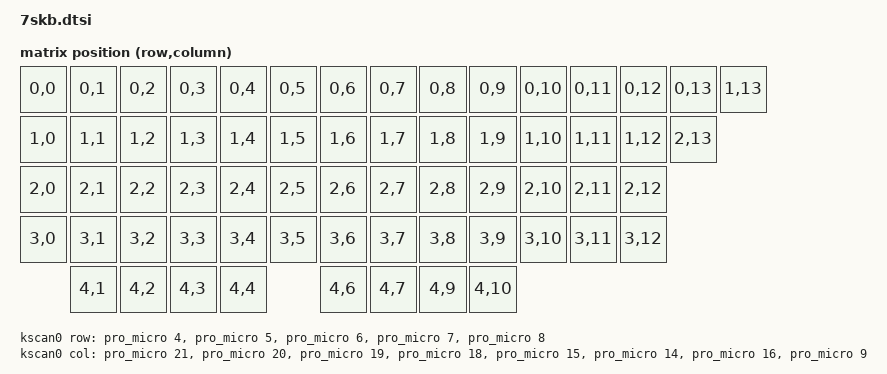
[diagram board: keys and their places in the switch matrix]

#include <dt-bindings/zmk/matrix_transform.h>
#include "7skb-layouts.dtsi"

/ {
    chosen {
        zmk,physical-layout = &physical_layout0;
    };

    default_transform: keymap_transform_0 {
        compatible = "zmk,matrix-transform";
        columns = <14>;
        rows = <5>;
        map = <
// 1      2      3      4       5       6             1        2        3        4        5        6        7        8        9         
RC(0,0) RC(0,1) RC(0,2) RC(0,3) RC(0,4) RC(0,5)       RC(0,6)  RC(0,7)  RC(0,8)  RC(0,9)  RC(0,10) RC(0,11) RC(0,12) RC(0,13) RC(1,13) 
RC(1,0) RC(1,1) RC(1,2) RC(1,3) RC(1,4) RC(1,5)       RC(1,6)  RC(1,7)  RC(1,8)  RC(1,9)  RC(1,10) RC(1,11) RC(1,12) RC(2,13)
RC(2,0) RC(2,1) RC(2,2) RC(2,3) RC(2,4) RC(2,5)       RC(2,6)  RC(2,7)  RC(2,8)  RC(2,9)  RC(2,10) RC(2,11) RC(2,12) 
RC(3,0) RC(3,1) RC(3,2) RC(3,3) RC(3,4) RC(3,5)       RC(3,6)  RC(3,7)  RC(3,8)  RC(3,9)  RC(3,10) RC(3,11) RC(3,12)
        RC(4,1) RC(4,2) RC(4,3) RC(4,4)               RC(4,6)  RC(4,7)  RC(4,9)  RC(4,10)
        >;
    };

    kscan0: kscan {
        compatible = "zmk,kscan-gpio-matrix";
        wakeup-source;

        diode-direction = "col2row";
        row-gpios
        = <&pro_micro 4 (GPIO_ACTIVE_HIGH | GPIO_PULL_DOWN)>   // D4
        ,<&pro_micro 5 (GPIO_ACTIVE_HIGH | GPIO_PULL_DOWN)>    // C6
        ,<&pro_micro 6 (GPIO_ACTIVE_HIGH | GPIO_PULL_DOWN)>    // D7
        ,<&pro_micro 7 (GPIO_ACTIVE_HIGH | GPIO_PULL_DOWN)>    // E6
        ,<&pro_micro 8 (GPIO_ACTIVE_HIGH | GPIO_PULL_DOWN)>    // B4
        ;

        col-gpios
        = <&pro_micro 21 GPIO_ACTIVE_HIGH>   // F4
        ,<&pro_micro 20 GPIO_ACTIVE_HIGH>    // F5
        ,<&pro_micro 19 GPIO_ACTIVE_HIGH>    // F6
        ,<&pro_micro 18 GPIO_ACTIVE_HIGH>    // F7
        ,<&pro_micro 15 GPIO_ACTIVE_HIGH>    // B1
        ,<&pro_micro 14 GPIO_ACTIVE_HIGH>    // B3
        ,<&pro_micro 16 GPIO_ACTIVE_HIGH>    // B2
        ,<&pro_micro 9 GPIO_ACTIVE_HIGH>     // B5
        ;
    };

    /* Wake専用GPIO key（任意のrowピン、例:最初row D4） */
    keys {
        compatible = "gpio-keys";
        wakeup_key: wakeup_key {
            gpios = <&pro_micro 4 (GPIO_ACTIVE_HIGH | GPIO_PULL_DOWN)>;
        };
    };

    /* Trigger: col全ピンactiveに */
    wakeup_trigger: wakeup_trigger {
        compatible = "zmk,gpio-key-wakeup-trigger";
        trigger = <&wakeup_key>;
        wakeup-source;
        extra-gpios =
            <&pro_micro 21 GPIO_ACTIVE_HIGH>   // F4 col0
            ,<&pro_micro 20 GPIO_ACTIVE_HIGH>   // F5 col1
            ,<&pro_micro 19 GPIO_ACTIVE_HIGH>   // F6 col2
            ,<&pro_micro 18 GPIO_ACTIVE_HIGH>   // F7 col3
            ,<&pro_micro 15 GPIO_ACTIVE_HIGH>   // B1 col4
            ,<&pro_micro 14 GPIO_ACTIVE_HIGH>   // B3 col5
            ,<&pro_micro 16 GPIO_ACTIVE_HIGH>   // B2 col6
            ,<&pro_micro 9  GPIO_ACTIVE_HIGH>;  // B5 col7
    };

    soft_off_wakers {
        compatible = "zmk,soft-off-wakeup-sources";
        wakeup-sources = <&wakeup_trigger>;  // kscan0から変更
    };
};

&physical_layout0 {
    kscan = <&kscan0>;
    transform = <&default_transform>;
};
